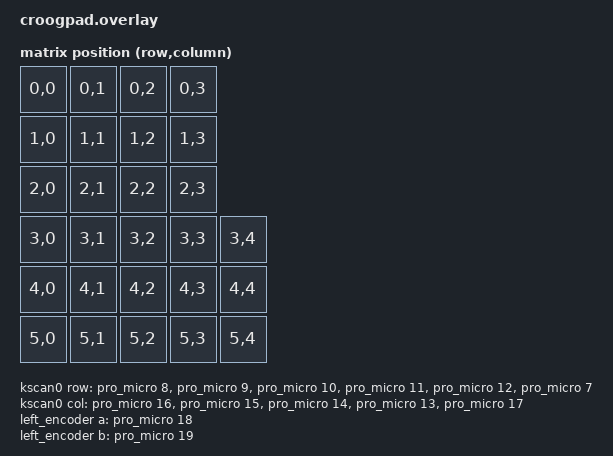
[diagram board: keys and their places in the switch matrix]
#include <dt-bindings/zmk/matrix_transform.h>

/ {
    chosen {
        zmk,kscan = &kscan0;
    };

    default_transform: keymap_transform_0 {
        compatible = "zmk,matrix-transform";
        columns = <5>; 
        rows = <6>;
        // | K0  | K1  | K2  | K3  |
        // | K10 | K11 | K12 | K13 |
        // | K20 | K21 | K22 | K23 |
        // | K30 | K31 | K32 | K33 | ENB1 |
        // | K40 | K41 | K42 | K43 | KE1  |
        // | K50 | K51 | K52 | K53 | KE2  |

        map = <
        RC(0,0)  RC(0,1)  RC(0,2)  RC(0,3) 
        RC(1,0)  RC(1,1)  RC(1,2)  RC(1,3) 
        RC(2,0)  RC(2,1)  RC(2,2)  RC(2,3) 
        RC(3,0)  RC(3,1)  RC(3,2)  RC(3,3)  RC(3,4)
        RC(4,0)  RC(4,1)  RC(4,2)  RC(4,3)  RC(4,4)
        RC(5,0)  RC(5,1)  RC(5,2)  RC(5,3)  RC(5,4) 
        >;

    };

    kscan0: kscan_0 {
        compatible = "zmk,kscan-gpio-matrix";
        label = "KSCAN";
        diode-direction = "col2row";

        col-gpios
            = <&pro_micro 16 GPIO_ACTIVE_HIGH>
            , <&pro_micro 15 GPIO_ACTIVE_HIGH>
            , <&pro_micro 14 GPIO_ACTIVE_HIGH>
            , <&pro_micro 13 GPIO_ACTIVE_HIGH>
            , <&pro_micro 17 GPIO_ACTIVE_HIGH>
            ;

        row-gpios
            = <&pro_micro 8 (GPIO_ACTIVE_HIGH | GPIO_PULL_DOWN)>
            , <&pro_micro 9 (GPIO_ACTIVE_HIGH | GPIO_PULL_DOWN)>
            , <&pro_micro 10 (GPIO_ACTIVE_HIGH | GPIO_PULL_DOWN)>
            , <&pro_micro 11 (GPIO_ACTIVE_HIGH | GPIO_PULL_DOWN)>
            , <&pro_micro 12 (GPIO_ACTIVE_HIGH | GPIO_PULL_DOWN)>
            , <&pro_micro 7 (GPIO_ACTIVE_HIGH | GPIO_PULL_DOWN)>
            ;
    };

    left_encoder: encoder_left {
        compatible = "alps,ec11";
        label = "LEFT_ENCODER";
        a-gpios = <&pro_micro 18 (GPIO_ACTIVE_HIGH | GPIO_PULL_UP)>;
        b-gpios = <&pro_micro 19 (GPIO_ACTIVE_HIGH | GPIO_PULL_UP)>;
        resolution = <4>;
    };

    sensors {
        compatible = "zmk,keymap-sensors";
        sensors = <&left_encoder>;
    };
};

&left_encoder {
    status = "okay";
};

&pro_micro_i2c {
    status = "okay";

    oled: ssd1306@3c {
        compatible = "solomon,ssd1306fb";
        reg = <0x3c>;
        label = "OLED0";
        width = <128>;
        height = <32>;
        segment-offset = <0>;
        page-offset = <0>;
        display-offset = <0>;
        multiplex-ratio = <31>;
        segment-remap;
        com-invdir;
        com-sequential;
        prechargep = <0x22>;
    };
};
